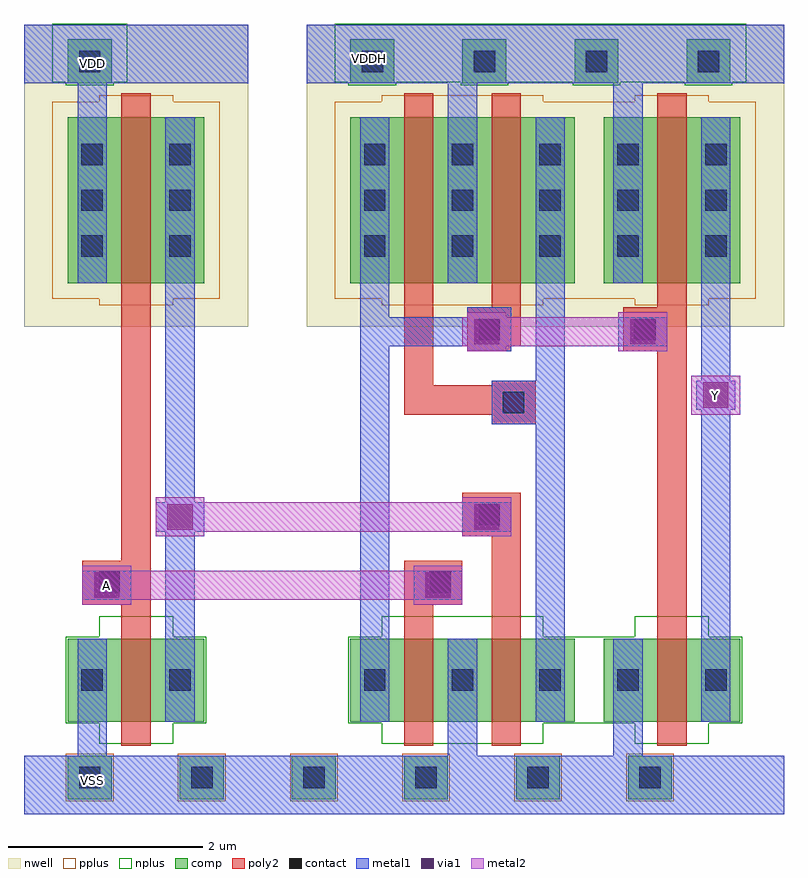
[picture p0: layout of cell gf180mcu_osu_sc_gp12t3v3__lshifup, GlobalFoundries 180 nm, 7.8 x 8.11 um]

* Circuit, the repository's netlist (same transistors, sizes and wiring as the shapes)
* Copyright 2022 Google LLC
*
* Licensed under the Apache License, Version 2.0 (the "License");
* you may not use this file except in compliance with the License.
* You may obtain a copy of the License at
*
*      http://www.apache.org/licenses/LICENSE-2.0
*
* Unless required by applicable law or agreed to in writing, software
* distributed under the License is distributed on an "AS IS" BASIS,
* WITHOUT WARRANTIES OR CONDITIONS OF ANY KIND, either express or implied.
* See the License for the specific language governing permissions and
* limitations under the License.

.inc "/import/yukari1/lrburle/OSU_180/char/techfiles/design.hspice"
.lib "/import/yukari1/lrburle/OSU_180/char/techfiles/sm141064.hspice" typical

.GLOBAL VDD
.GLOBAL VSS

.option scale=0.05u

.subckt gf180mcu_osu_sc_gp12t3v3__lshifup A Y
X0 a_26_19 A VDD VDD pmos_3p3 w=34 l=6
X1 VSS A a_67_19 VSS nmos_3p3 w=17 l=6
X2 Y a_67_19 VDDH VDDH pmos_3p3 w=34 l=6
X3 Y a_67_19 VSS VSS nmos_3p3 w=17 l=6
X4 VDDH a_78_82 a_67_19 VDDH pmos_3p3 w=34 l=6
X5 a_78_82 a_67_19 VDDH VDDH pmos_3p3 w=34 l=6
X6 a_26_19 A VSS VSS nmos_3p3 w=17 l=6
X7 a_78_82 a_26_19 VSS VSS nmos_3p3 w=17 l=6
.ends

** hspice subcircuit dictionary

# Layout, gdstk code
import gdstk
lib = gdstk.Library(unit=1e-6, precision=1e-09)
def R(c, l, rs):  # rectangles x0, y0, x1, y1
    for r in rs: c.add(gdstk.rectangle(r[:2], r[2:], *l))
def A(c, l, x, y, w, h, nx, ny, dx, dy):  # array of equal rectangles
    R(c, l, [(x+i*dx, y+j*dy, x+i*dx+w, y+j*dy+h) for i in range(nx) for j in range(ny)])
nwell = (21, 0)
comp = (22, 0)
poly2 = (30, 0)
pplus = (31, 0)
nplus = (32, 0)
contact = (33, 0)
metal1 = (34, 0)
via1 = (35, 0)
metal2 = (36, 0)

gf180mcu_osu_sc_gp12t3v3 = lib.new_cell('gf180mcu_osu_sc_gp12t3v3__lshifup')
R(gf180mcu_osu_sc_gp12t3v3, nwell, [(0,5,2.3,8.1), (2.9,5,7.8,8.1)])
A(gf180mcu_osu_sc_gp12t3v3, comp, 0.45, 0.15, 0.45, 0.45, 6, 1, 1.15, 0)
A(gf180mcu_osu_sc_gp12t3v3, comp, 3.35, 7.5, 0.45, 0.45, 4, 1, 1.15, 0)
R(gf180mcu_osu_sc_gp12t3v3, comp, [(0.45,0.95,1.85,1.8), (3.35,0.95,5.65,1.8), (5.95,0.95,7.35,1.8), (0.45,5.45,1.85,7.15), (3.35,5.45,5.65,7.15), (5.95,5.45,7.35,7.15), (0.45,7.5,0.9,7.95)])
R(gf180mcu_osu_sc_gp12t3v3, poly2, [(1,0.7,1.3,2.15), (3.9,0.7,4.2,2.15), (4.8,0.7,5.1,2.85), (6.5,0.7,6.8,4.75), (0.6,2.15,1.3,2.6), (3.9,2.15,4.5,2.6), (1,2.6,1.3,7.4), (4.5,2.85,5.1,3.3), (4.8,4,5.25,4.1), (3.9,4.1,5.25,4.4), (3.9,4.4,4.2,7.4), (4.8,4.4,5.25,4.45), (4.55,4.75,5,4.8), (6.15,4.75,6.8,5.2), (4.55,4.8,5.1,5.2), (4.8,5.2,5.1,7.4), (6.5,5.2,6.8,7.4)])
A(gf180mcu_osu_sc_gp12t3v3, pplus, 0.43, 0.13, 0.49, 0.49, 6, 1, 1.15, 0)
R(gf180mcu_osu_sc_gp12t3v3, pplus, [(0.77,5.22,1.53,5.29), (3.67,5.22,5.33,5.29), (6.27,5.22,7.03,5.29), (0.29,5.29,2.01,7.31), (3.19,5.29,7.51,7.31), (0.77,7.31,1.53,7.38), (3.67,7.31,5.33,7.38), (6.27,7.31,7.03,7.38)])
A(gf180mcu_osu_sc_gp12t3v3, nplus, 3.33, 7.48, 0.49, 0.03, 4, 1, 1.15, 0)
R(gf180mcu_osu_sc_gp12t3v3, nplus, [(0.77,0.72,1.53,0.93), (3.67,0.72,5.33,0.93), (6.27,0.72,7.03,0.93), (0.43,0.93,1.87,1.82), (3.33,0.93,7.37,1.82), (0.77,1.82,1.53,2.03), (3.67,1.82,5.33,2.03), (6.27,1.82,7.03,2.03), (0.43,7.48,0.92,7.51), (0.29,7.51,1.06,8.11), (3.19,7.51,7.41,8.11)])
A(gf180mcu_osu_sc_gp12t3v3, contact, 0.565, 0.265, 0.22, 0.22, 6, 1, 1.15, 0)
A(gf180mcu_osu_sc_gp12t3v3, contact, 3.49, 1.265, 0.22, 0.22, 3, 2, 0.9, 4.455)
A(gf180mcu_osu_sc_gp12t3v3, contact, 0.59, 5.72, 0.22, 0.22, 1, 3, 0, 0.47)
A(gf180mcu_osu_sc_gp12t3v3, contact, 1.49, 5.72, 0.22, 0.22, 1, 3, 0, 0.47)
A(gf180mcu_osu_sc_gp12t3v3, contact, 6.09, 5.72, 0.22, 0.22, 1, 3, 0, 0.47)
A(gf180mcu_osu_sc_gp12t3v3, contact, 6.99, 5.72, 0.22, 0.22, 1, 3, 0, 0.47)
A(gf180mcu_osu_sc_gp12t3v3, contact, 3.49, 6.19, 0.22, 0.22, 3, 2, 0.9, 0.47)
A(gf180mcu_osu_sc_gp12t3v3, contact, 3.465, 7.615, 0.22, 0.22, 4, 1, 1.15, 0)
R(gf180mcu_osu_sc_gp12t3v3, contact, [(0.59,1.265,0.81,1.485), (1.49,1.265,1.71,1.485), (6.09,1.265,6.31,1.485), (6.99,1.265,7.21,1.485), (0.765,2.265,0.985,2.485), (4.165,2.265,4.385,2.485), (4.665,2.965,4.885,3.185), (4.915,4.115,5.135,4.335), (4.665,4.865,4.885,5.085), (6.265,4.865,6.485,5.085), (0.565,7.615,0.785,7.835)])
R(gf180mcu_osu_sc_gp12t3v3, metal1, [(0,0,7.8,0.6), (0.55,0.6,0.85,1.8), (4.35,0.6,4.65,1.8), (6.05,0.6,6.35,1.8), (1.45,0.95,1.75,2.9), (3.45,0.95,3.75,4.8), (5.25,0.95,5.55,4), (6.95,0.95,7.25,4.15), (0.6,2.2,1.1,2.5), (4,2.2,4.5,2.5), (1.35,2.9,1.85,3.2), (4.5,2.9,5,3.2), (1.45,3.2,1.75,7.15), (4.8,4,5.55,4.45), (6.9,4.15,7.3,4.45), (5.25,4.45,5.55,7.15), (6.95,4.45,7.25,7.15), (4.55,4.75,5,4.8), (3.45,4.8,5,5.1), (6.1,4.8,6.6,5.1), (3.45,5.1,3.75,7.15), (4.55,5.1,5,5.2), (0.55,5.45,0.85,7.5), (4.35,5.45,4.65,7.5), (6.05,5.45,6.35,7.5), (0,7.5,2.3,8.1), (2.9,7.5,7.8,8.1)])
R(gf180mcu_osu_sc_gp12t3v3, via1, [(0.72,2.22,0.98,2.48), (4.12,2.22,4.38,2.48), (1.47,2.92,1.73,3.18), (4.62,2.92,4.88,3.18), (6.97,4.17,7.23,4.43), (4.62,4.82,4.88,5.08), (6.22,4.82,6.48,5.08)])
R(gf180mcu_osu_sc_gp12t3v3, metal2, [(0.6,2.15,1.1,2.2), (4,2.15,4.5,2.2), (0.6,2.2,4.5,2.5), (0.6,2.5,1.1,2.55), (4,2.5,4.5,2.55), (1.35,2.85,1.85,2.9), (4.5,2.85,5,2.9), (1.35,2.9,5,3.2), (1.35,3.2,1.85,3.25), (4.5,3.2,5,3.25), (6.85,4.1,7.35,4.5), (4.55,4.75,4.95,4.8), (6.1,4.75,6.6,4.8), (4.5,4.8,6.6,5.1), (4.55,5.1,4.95,5.15), (6.1,5.1,6.6,5.15)])
gf180mcu_osu_sc_gp12t3v3.add(gdstk.Label('VDD', (0.7,7.7), layer=34, texttype=0))
gf180mcu_osu_sc_gp12t3v3.add(gdstk.Label('VSS', (0.7,0.35), layer=34, texttype=0))
gf180mcu_osu_sc_gp12t3v3.add(gdstk.Label('VDDH', (3.55,7.75), layer=34, texttype=0))
gf180mcu_osu_sc_gp12t3v3.add(gdstk.Label('A', (0.85,2.35), layer=36, texttype=10))
gf180mcu_osu_sc_gp12t3v3.add(gdstk.Label('Y', (7.1,4.3), layer=36, texttype=10))

lib.write_gds('gf180mcu_osu_sc_gp12t3v3__lshifup.gds')
